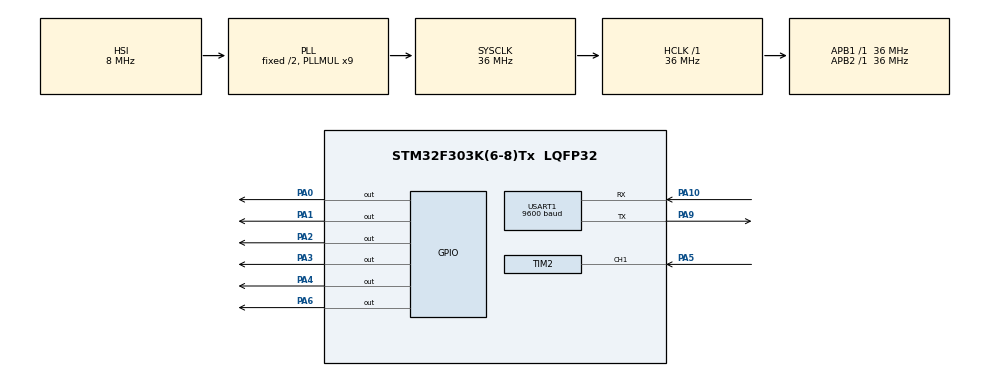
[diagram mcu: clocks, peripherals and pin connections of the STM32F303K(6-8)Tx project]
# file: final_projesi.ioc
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Mcu.Family=STM32F3
Mcu.Name=STM32F303K(6-8)Tx
Mcu.Package=LQFP32
NVIC.PriorityGroup=NVIC_PRIORITYGROUP_4
NVIC.TIM2_IRQn=true\:0\:0\:false\:false\:true\:true\:true\:true
NVIC.USART1_IRQn=true\:0\:0\:false\:false\:true\:true\:true\:true
PA0.Signal=GPIO_Output
PA1.Signal=GPIO_Output
PA10.Mode=Asynchronous
PA10.Signal=USART1_RX
PA13.Mode=Serial_Wire
PA13.Signal=SYS_JTMS-SWDIO
PA14.Mode=Serial_Wire
PA14.Signal=SYS_JTCK-SWCLK
PA2.Signal=GPIO_Output
PA3.Signal=GPIO_Output
PA4.Signal=GPIO_Output
PA5.Signal=S_TIM2_CH1_ETR
PA6.Signal=GPIO_Output
PA9.Mode=Asynchronous
PA9.Signal=USART1_TX
ProjectManager.HeapSize=0x200
ProjectManager.StackSize=0x400
ProjectManager.TargetToolchain=STM32CubeIDE
RCC.AHBFreq_Value=36000000
RCC.APB1Freq_Value=36000000
RCC.APB1TimFreq_Value=36000000
RCC.APB2Freq_Value=36000000
RCC.APB2TimFreq_Value=36000000
RCC.CortexFreq_Value=36000000
RCC.HCLKFreq_Value=36000000
RCC.HSE_VALUE=8000000
RCC.HSI_VALUE=8000000
RCC.PLLMUL=RCC_PLL_MUL9
RCC.SYSCLKFreq_VALUE=36000000
RCC.SYSCLKSourceVirtual=RCC_SYSCLKSOURCE_PLLCLK
SH.S_TIM2_CH1_ETR.0=TIM2_CH1,Input_Capture1_from_TI1
TIM2.Channel-Input_Capture1_from_TI1=TIM_CHANNEL_1
TIM2.Period=65535
TIM2.Prescaler=36 - 1
USART1.BaudRate=9600
USART1.VirtualMode-Asynchronous=VM_ASYNC
board=custom

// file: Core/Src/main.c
/* USER CODE BEGIN Header */
/**
  ******************************************************************************
  * @file           : main.c
  * @brief          : Main program body
  ******************************************************************************
  * @attention
  *
  * Copyright (c) 2026 STMicroelectronics.
  * All rights reserved.
  *
  * This software is licensed under terms that can be found in the LICENSE file
  * in the root directory of this software component.
  * If no LICENSE file comes with this software, it is provided AS-IS.
  *
  ******************************************************************************
  */
/* USER CODE END Header */
#include "main.h"

/* USER CODE BEGIN Includes */
#include <stdio.h>
#include <string.h>
/* USER CODE END Includes */

TIM_HandleTypeDef htim2;

UART_HandleTypeDef huart1;

/* USER CODE BEGIN PV */
uint8_t rxData;
volatile char motorState = 'x';
uint32_t ic_val1 = 0;
uint32_t ic_val2 = 0;
uint8_t is_first_captured = 0;
uint32_t distance = 0;
/* USER CODE END PV */

void SystemClock_Config(void);
static void MX_GPIO_Init(void);
static void MX_USART1_UART_Init(void);
static void MX_TIM2_Init(void);

/* USER CODE BEGIN 0 */

void HCSR04_Trigger()
{
    HAL_GPIO_WritePin(GPIOA, GPIO_PIN_4, GPIO_PIN_RESET);
    HAL_Delay(1);

    HAL_GPIO_WritePin(GPIOA, GPIO_PIN_4, GPIO_PIN_SET);
    for(volatile int i=0;i<720;i++); // ~10us
    HAL_GPIO_WritePin(GPIOA, GPIO_PIN_4, GPIO_PIN_RESET);
}

uint32_t HCSR04_Read(void)
{
    uint32_t time = 0;

    HAL_GPIO_WritePin(GPIOA, GPIO_PIN_4, GPIO_PIN_RESET);
    HAL_Delay(1);

    HAL_GPIO_WritePin(GPIOA, GPIO_PIN_4, GPIO_PIN_SET);
    for(volatile int i = 0; i < 720; i++); // ~10us
    HAL_GPIO_WritePin(GPIOA, GPIO_PIN_4, GPIO_PIN_RESET);

    uint32_t timeout = 100000;

    while(HAL_GPIO_ReadPin(GPIOA, GPIO_PIN_5) == GPIO_PIN_RESET)
    {
        if(--timeout == 0) return 0;
    }

    while(HAL_GPIO_ReadPin(GPIOA, GPIO_PIN_5) == GPIO_PIN_SET)
    {
        time++;
        for(volatile int i = 0; i < 80; i++); // pseudo delay
        if(time > 30000) break;
    }

    return time / 58;
}
/* USER CODE END 0 */

int main(void)
{

  /* USER CODE BEGIN 1 */
	HAL_GPIO_WritePin(GPIOA, GPIO_PIN_6, GPIO_PIN_RESET);
  /* USER CODE END 1 */

  /* MCU Configuration--------------------------------------------------------*/

  /* Reset of all peripherals, Initializes the Flash interface and the Systick. */
  HAL_Init();

  /* Configure the system clock */
  SystemClock_Config();

  /* Initialize all configured peripherals */
  MX_GPIO_Init();
  MX_USART1_UART_Init();
  MX_TIM2_Init();
  /* USER CODE BEGIN 2 */
  HAL_GPIO_WritePin(GPIOA, GPIO_PIN_0, GPIO_PIN_RESET);
  HAL_GPIO_WritePin(GPIOA, GPIO_PIN_1, GPIO_PIN_RESET);
  HAL_GPIO_WritePin(GPIOA, GPIO_PIN_2, GPIO_PIN_RESET);
  HAL_GPIO_WritePin(GPIOA, GPIO_PIN_3, GPIO_PIN_RESET);
  HAL_UART_Receive_IT(&huart1, &rxData, 1);
  HAL_TIM_IC_Start_IT(&htim2, TIM_CHANNEL_1);
  /* USER CODE END 2 */

  /* Infinite loop */
  while (1)
  {

    /* USER CODE BEGIN 3 */

	      HCSR04_Trigger();
	      HAL_Delay(60); // Sensörün yankı alması için gereken güvenli bekleme süresi

	      // Mesafe 0'dan büyük ve 20 cm'den küçükse robotu acilen durdur ve buzzer'ı yak
	      if(distance > 0 && distance <= 20)
	      {
	          HAL_GPIO_WritePin(GPIOA, GPIO_PIN_0, GPIO_PIN_RESET);
	          HAL_GPIO_WritePin(GPIOA, GPIO_PIN_1, GPIO_PIN_RESET);
	          HAL_GPIO_WritePin(GPIOA, GPIO_PIN_2, GPIO_PIN_RESET);
	          HAL_GPIO_WritePin(GPIOA, GPIO_PIN_3, GPIO_PIN_RESET);

	          HAL_GPIO_WritePin(GPIOA, GPIO_PIN_6, GPIO_PIN_SET);
	          continue; //döngünün başına dön
	      }
	      else
	      {
	          HAL_GPIO_WritePin(GPIOA, GPIO_PIN_6, GPIO_PIN_RESET);
	      }

	      //Hareket Kontrolü
	      switch(motorState)
	      {
	          case 'w':
	          case 'W': // İLERİ
	              HAL_GPIO_WritePin(GPIOA, GPIO_PIN_0, GPIO_PIN_SET);
	              HAL_GPIO_WritePin(GPIOA, GPIO_PIN_1, GPIO_PIN_RESET);
	              HAL_GPIO_WritePin(GPIOA, GPIO_PIN_2, GPIO_PIN_SET);
	              HAL_GPIO_WritePin(GPIOA, GPIO_PIN_3, GPIO_PIN_RESET);
	              break;

	          case 's':
	          case 'S': // GERİ
	              HAL_GPIO_WritePin(GPIOA, GPIO_PIN_0, GPIO_PIN_RESET);
	              HAL_GPIO_WritePin(GPIOA, GPIO_PIN_1, GPIO_PIN_SET);
	              HAL_GPIO_WritePin(GPIOA, GPIO_PIN_2, GPIO_PIN_RESET);
	              HAL_GPIO_WritePin(GPIOA, GPIO_PIN_3, GPIO_PIN_SET);
	              break;

	          case 'a':
	          case 'A': // SOL
	              HAL_GPIO_WritePin(GPIOA, GPIO_PIN_0, GPIO_PIN_RESET);
	              HAL_GPIO_WritePin(GPIOA, GPIO_PIN_1, GPIO_PIN_SET);
	              HAL_GPIO_WritePin(GPIOA, GPIO_PIN_2, GPIO_PIN_SET);
	              HAL_GPIO_WritePin(GPIOA, GPIO_PIN_3, GPIO_PIN_RESET);
	              break;

	          case 'd':
	          case 'D': // SAĞ
	              HAL_GPIO_WritePin(GPIOA, GPIO_PIN_0, GPIO_PIN_SET);
	              HAL_GPIO_WritePin(GPIOA, GPIO_PIN_1, GPIO_PIN_RESET);
	              HAL_GPIO_WritePin(GPIOA, GPIO_PIN_2, GPIO_PIN_RESET);
	              HAL_GPIO_WritePin(GPIOA, GPIO_PIN_3, GPIO_PIN_SET);
	              break;

	          case 'x':
	          case 'X':
	          default: // DUR
	              HAL_GPIO_WritePin(GPIOA, GPIO_PIN_0, GPIO_PIN_RESET);
	              HAL_GPIO_WritePin(GPIOA, GPIO_PIN_1, GPIO_PIN_RESET);
	              HAL_GPIO_WritePin(GPIOA, GPIO_PIN_2, GPIO_PIN_RESET);
	              HAL_GPIO_WritePin(GPIOA, GPIO_PIN_3, GPIO_PIN_RESET);
	              break;
	      }

  }

  /* USER CODE END 3 */
}

void SystemClock_Config(void)
{
  RCC_OscInitTypeDef RCC_OscInitStruct = {0};
  RCC_ClkInitTypeDef RCC_ClkInitStruct = {0};
  RCC_PeriphCLKInitTypeDef PeriphClkInit = {0};

  /** Initializes the RCC Oscillators according to the specified parameters
  * in the RCC_OscInitTypeDef structure.
  */
  RCC_OscInitStruct.OscillatorType = RCC_OSCILLATORTYPE_HSI;
  RCC_OscInitStruct.HSIState = RCC_HSI_ON;
  RCC_OscInitStruct.HSICalibrationValue = RCC_HSICALIBRATION_DEFAULT;
  RCC_OscInitStruct.PLL.PLLState = RCC_PLL_ON;
  RCC_OscInitStruct.PLL.PLLSource = RCC_PLLSOURCE_HSI;
  RCC_OscInitStruct.PLL.PLLMUL = RCC_PLL_MUL9;
  if (HAL_RCC_OscConfig(&RCC_OscInitStruct) != HAL_OK)
  {
    Error_Handler();
  }

  /** Initializes the CPU, AHB and APB buses clocks
  */
  RCC_ClkInitStruct.ClockType = RCC_CLOCKTYPE_HCLK|RCC_CLOCKTYPE_SYSCLK
                              |RCC_CLOCKTYPE_PCLK1|RCC_CLOCKTYPE_PCLK2;
  RCC_ClkInitStruct.SYSCLKSource = RCC_SYSCLKSOURCE_PLLCLK;
  RCC_ClkInitStruct.AHBCLKDivider = RCC_SYSCLK_DIV1;
  RCC_ClkInitStruct.APB1CLKDivider = RCC_HCLK_DIV1;
  RCC_ClkInitStruct.APB2CLKDivider = RCC_HCLK_DIV1;

  if (HAL_RCC_ClockConfig(&RCC_ClkInitStruct, FLASH_LATENCY_1) != HAL_OK)
  {
    Error_Handler();
  }
  PeriphClkInit.PeriphClockSelection = RCC_PERIPHCLK_USART1;
  PeriphClkInit.Usart1ClockSelection = RCC_USART1CLKSOURCE_PCLK1;
  if (HAL_RCCEx_PeriphCLKConfig(&PeriphClkInit) != HAL_OK)
  {
    Error_Handler();
  }
}

static void MX_TIM2_Init(void)
{

  TIM_MasterConfigTypeDef sMasterConfig = {0};
  TIM_IC_InitTypeDef sConfigIC = {0};

  htim2.Instance = TIM2;
  htim2.Init.Prescaler = 36 - 1;
  htim2.Init.CounterMode = TIM_COUNTERMODE_UP;
  htim2.Init.Period = 65535;
  htim2.Init.ClockDivision = TIM_CLOCKDIVISION_DIV1;
  htim2.Init.AutoReloadPreload = TIM_AUTORELOAD_PRELOAD_DISABLE;
  if (HAL_TIM_IC_Init(&htim2) != HAL_OK)
  {
    Error_Handler();
  }
  sMasterConfig.MasterOutputTrigger = TIM_TRGO_RESET;
  sMasterConfig.MasterSlaveMode = TIM_MASTERSLAVEMODE_DISABLE;
  if (HAL_TIMEx_MasterConfigSynchronization(&htim2, &sMasterConfig) != HAL_OK)
  {
    Error_Handler();
  }
  sConfigIC.ICPolarity = TIM_INPUTCHANNELPOLARITY_RISING;
  sConfigIC.ICSelection = TIM_ICSELECTION_DIRECTTI;
  sConfigIC.ICPrescaler = TIM_ICPSC_DIV1;
  sConfigIC.ICFilter = 0;
  if (HAL_TIM_IC_ConfigChannel(&htim2, &sConfigIC, TIM_CHANNEL_1) != HAL_OK)
  {
    Error_Handler();
  }

}

static void MX_USART1_UART_Init(void)
{

  huart1.Instance = USART1;
  huart1.Init.BaudRate = 9600;
  huart1.Init.WordLength = UART_WORDLENGTH_8B;
  huart1.Init.StopBits = UART_STOPBITS_1;
  huart1.Init.Parity = UART_PARITY_NONE;
  huart1.Init.Mode = UART_MODE_TX_RX;
  huart1.Init.HwFlowCtl = UART_HWCONTROL_NONE;
  huart1.Init.OverSampling = UART_OVERSAMPLING_16;
  huart1.Init.OneBitSampling = UART_ONE_BIT_SAMPLE_DISABLE;
  huart1.AdvancedInit.AdvFeatureInit = UART_ADVFEATURE_NO_INIT;
  if (HAL_UART_Init(&huart1) != HAL_OK)
  {
    Error_Handler();
  }

}

static void MX_GPIO_Init(void)
{
  GPIO_InitTypeDef GPIO_InitStruct = {0};

  /* GPIO Ports Clock Enable */
  __HAL_RCC_GPIOA_CLK_ENABLE();

  /*Configure GPIO pin Output Level */
  HAL_GPIO_WritePin(GPIOA, GPIO_PIN_0|GPIO_PIN_1|GPIO_PIN_2|GPIO_PIN_3
                          |GPIO_PIN_4|GPIO_PIN_6, GPIO_PIN_RESET);

  /*Configure GPIO pins : PA0 PA1 PA2 PA3
                           PA4 PA6 */
  GPIO_InitStruct.Pin = GPIO_PIN_0|GPIO_PIN_1|GPIO_PIN_2|GPIO_PIN_3
                          |GPIO_PIN_4|GPIO_PIN_6;
  GPIO_InitStruct.Mode = GPIO_MODE_OUTPUT_PP;
  GPIO_InitStruct.Pull = GPIO_NOPULL;
  GPIO_InitStruct.Speed = GPIO_SPEED_FREQ_LOW;
  HAL_GPIO_Init(GPIOA, &GPIO_InitStruct);

}

/* USER CODE BEGIN 4 */
void HAL_UART_RxCpltCallback(UART_HandleTypeDef *huart)
{
    if (huart->Instance == USART1)
    {
        // CR / LF temizliği
        if (rxData == '\r' || rxData == '\n')
        {
            HAL_UART_Receive_IT(&huart1, &rxData, 1);
            return;
        }

        // sadece geçerli komutları kabul et
        switch(rxData)
        {
            case 'w':
            case 'W':
            case 'a':
            case 'A':
            case 's':
            case 'S':
            case 'd':
            case 'D':
            case 'x':
            case 'X':
                motorState = rxData; break;

            default: break;
        }

        HAL_UART_Transmit(&huart1, &rxData, 1, 100);
        HAL_UART_Receive_IT(&huart1, &rxData, 1);
    }
}
void HAL_TIM_IC_CaptureCallback(TIM_HandleTypeDef *htim)
{
    if(htim->Instance == TIM2)
    {
        if(htim->Channel == HAL_TIM_ACTIVE_CHANNEL_1)
        {
            if(is_first_captured == 0)
            {
                ic_val1 = HAL_TIM_ReadCapturedValue(htim, TIM_CHANNEL_1);
                is_first_captured = 1;

                // switch to falling edge
                __HAL_TIM_SET_CAPTUREPOLARITY(htim, TIM_CHANNEL_1, TIM_INPUTCHANNELPOLARITY_FALLING);
            }
            else
            {
                ic_val2 = HAL_TIM_ReadCapturedValue(htim, TIM_CHANNEL_1);

                if(ic_val2 > ic_val1)
                    distance = ic_val2 - ic_val1;
                else
                    distance = (0xFFFF - ic_val1) + ic_val2;

                distance = distance * 0.034 / 2;

                is_first_captured = 0;

                // switch back to rising edge
                __HAL_TIM_SET_CAPTUREPOLARITY(htim, TIM_CHANNEL_1, TIM_INPUTCHANNELPOLARITY_RISING);

            }
        }
    }
}
/* USER CODE END 4 */

void Error_Handler(void)
{
  __disable_irq();
  while (1)
  {
  }
}
